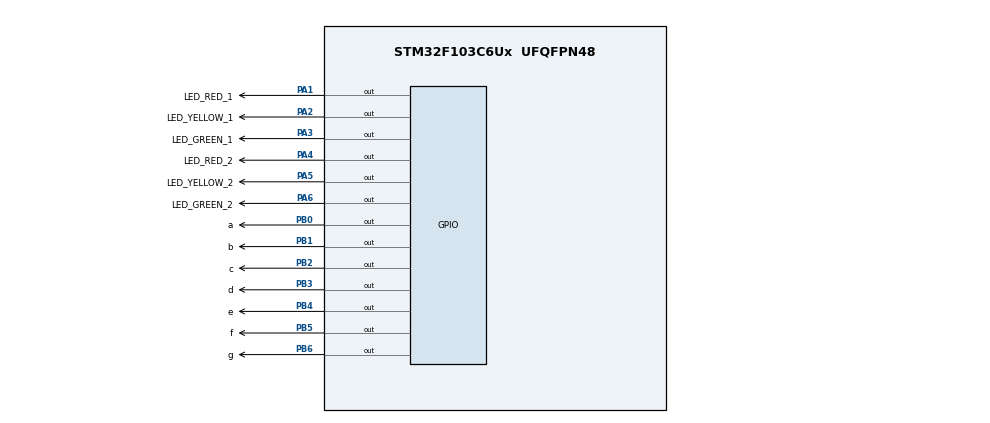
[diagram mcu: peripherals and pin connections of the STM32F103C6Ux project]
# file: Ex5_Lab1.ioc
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Mcu.Family=STM32F1
Mcu.Name=STM32F103C6Ux
Mcu.Package=UFQFPN48
NVIC.PriorityGroup=NVIC_PRIORITYGROUP_4
PA1.GPIO_Label=LED_RED_1
PA1.Signal=GPIO_Output
PA2.GPIO_Label=LED_YELLOW_1
PA2.Signal=GPIO_Output
PA3.GPIO_Label=LED_GREEN_1
PA3.Signal=GPIO_Output
PA4.GPIO_Label=LED_RED_2
PA4.Signal=GPIO_Output
PA5.GPIO_Label=LED_YELLOW_2
PA5.Signal=GPIO_Output
PA6.GPIO_Label=LED_GREEN_2
PA6.Signal=GPIO_Output
PB0.GPIO_Label=a
PB0.Signal=GPIO_Output
PB1.GPIO_Label=b
PB1.Signal=GPIO_Output
PB2.GPIO_Label=c
PB2.Signal=GPIO_Output
PB3.GPIO_Label=d
PB3.Signal=GPIO_Output
PB4.GPIO_Label=e
PB4.Signal=GPIO_Output
PB5.GPIO_Label=f
PB5.Signal=GPIO_Output
PB6.GPIO_Label=g
PB6.Signal=GPIO_Output
ProjectManager.HeapSize=0x200
ProjectManager.StackSize=0x400
ProjectManager.TargetToolchain=STM32CubeIDE
RCC.APB1Freq_Value=8000000
RCC.APB2Freq_Value=8000000
VP_SYS_VS_ND.Mode=No_Debug
board=custom

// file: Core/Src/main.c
/* USER CODE BEGIN Header */
/**
 ******************************************************************************
 * @file           : main.c
 * @brief          : Main program body
 ******************************************************************************
 * @attention
 *
 * <h2><center>&copy; Copyright (c) 2025 STMicroelectronics.
 * All rights reserved.</center></h2>
 *
 * This software component is licensed by ST under BSD 3-Clause license,
 * the "License"; You may not use this file except in compliance with the
 * License. You may obtain a copy of the License at:
 *                        opensource.org/licenses/BSD-3-Clause
 *
 ******************************************************************************
 */
/* USER CODE END Header */
#include "main.h"

void SystemClock_Config(void);
static void MX_GPIO_Init(void);

/* USER CODE BEGIN 0 */
void display7SEG(int);
/* USER CODE END 0 */

int main(void) {

	/* MCU Configuration--------------------------------------------------------*/

	/* Reset of all peripherals, Initializes the Flash interface and the Systick. */
	HAL_Init();

	/* Configure the system clock */
	SystemClock_Config();

	/* Initialize all configured peripherals */
	MX_GPIO_Init();
	/* USER CODE BEGIN 2 */
	int second_counter = 0;
	/* USER CODE END 2 */

	/* Infinite loop */
	/* USER CODE BEGIN WHILE */
	while (1) {
		int remaining_time = 0;

		if (second_counter < 5) {
			// STATE 1: RED LIGHT for 5 seconds (counter from 0 to 4)
			HAL_GPIO_WritePin(LED_RED_1_GPIO_Port, LED_RED_1_Pin, GPIO_PIN_SET);
			HAL_GPIO_WritePin(LED_GREEN_1_GPIO_Port, LED_GREEN_1_Pin,
					GPIO_PIN_RESET);
			HAL_GPIO_WritePin(LED_YELLOW_1_GPIO_Port, LED_YELLOW_1_Pin,
					GPIO_PIN_RESET);
			remaining_time = 5 - second_counter;
		} else if (second_counter < 8) {
			// STATE 2: GREEN LIGHT for 3 seconds (counter from 5 to 7)
			HAL_GPIO_WritePin(LED_RED_1_GPIO_Port, LED_RED_1_Pin,
					GPIO_PIN_RESET);
			HAL_GPIO_WritePin(LED_GREEN_1_GPIO_Port, LED_GREEN_1_Pin,
					GPIO_PIN_SET);
			HAL_GPIO_WritePin(LED_YELLOW_1_GPIO_Port, LED_YELLOW_1_Pin,
					GPIO_PIN_RESET);
			remaining_time = 8 - second_counter;
		} else {
			// STATE 3: YELLOW LIGHT for 2 seconds (counter from 8 to 9)
			HAL_GPIO_WritePin(LED_RED_1_GPIO_Port, LED_RED_1_Pin,
					GPIO_PIN_RESET);
			HAL_GPIO_WritePin(LED_GREEN_1_GPIO_Port, LED_GREEN_1_Pin,
					GPIO_PIN_RESET);
			HAL_GPIO_WritePin(LED_YELLOW_1_GPIO_Port, LED_YELLOW_1_Pin,
					GPIO_PIN_SET);
			remaining_time = 10 - second_counter;
		}

		display7SEG(remaining_time);

		if (second_counter <= 3) {
			HAL_GPIO_WritePin(LED_RED_2_GPIO_Port, LED_RED_2_Pin,
					GPIO_PIN_RESET);
			HAL_GPIO_WritePin(LED_GREEN_2_GPIO_Port, LED_GREEN_2_Pin,
					GPIO_PIN_SET);
			HAL_GPIO_WritePin(LED_YELLOW_2_GPIO_Port, LED_YELLOW_2_Pin,
					GPIO_PIN_RESET);
		} else if (second_counter <= 5) {
			HAL_GPIO_WritePin(LED_RED_2_GPIO_Port, LED_RED_2_Pin,
					GPIO_PIN_RESET);
			HAL_GPIO_WritePin(LED_GREEN_2_GPIO_Port, LED_GREEN_2_Pin,
					GPIO_PIN_RESET);
			HAL_GPIO_WritePin(LED_YELLOW_2_GPIO_Port, LED_YELLOW_2_Pin,
					GPIO_PIN_SET);
		} else {
			HAL_GPIO_WritePin(LED_RED_2_GPIO_Port, LED_RED_2_Pin, GPIO_PIN_SET);
			HAL_GPIO_WritePin(LED_GREEN_2_GPIO_Port, LED_GREEN_2_Pin,
					GPIO_PIN_RESET);
			HAL_GPIO_WritePin(LED_YELLOW_2_GPIO_Port, LED_YELLOW_2_Pin,
					GPIO_PIN_RESET);
		}

		// Increment the counter every second.
		second_counter++;
		if (second_counter >= 10) {
			second_counter = 0;
		}

		HAL_Delay(1000);

	}
	/* USER CODE END WHILE */

}

void SystemClock_Config(void) {
	RCC_OscInitTypeDef RCC_OscInitStruct = { 0 };
	RCC_ClkInitTypeDef RCC_ClkInitStruct = { 0 };

	/** Initializes the RCC Oscillators according to the specified parameters
	 * in the RCC_OscInitTypeDef structure.
	 */
	RCC_OscInitStruct.OscillatorType = RCC_OSCILLATORTYPE_HSI;
	RCC_OscInitStruct.HSIState = RCC_HSI_ON;
	RCC_OscInitStruct.HSICalibrationValue = RCC_HSICALIBRATION_DEFAULT;
	RCC_OscInitStruct.PLL.PLLState = RCC_PLL_NONE;
	if (HAL_RCC_OscConfig(&RCC_OscInitStruct) != HAL_OK) {
		Error_Handler();
	}
	/** Initializes the CPU, AHB and APB buses clocks
	 */
	RCC_ClkInitStruct.ClockType = RCC_CLOCKTYPE_HCLK | RCC_CLOCKTYPE_SYSCLK
			| RCC_CLOCKTYPE_PCLK1 | RCC_CLOCKTYPE_PCLK2;
	RCC_ClkInitStruct.SYSCLKSource = RCC_SYSCLKSOURCE_HSI;
	RCC_ClkInitStruct.AHBCLKDivider = RCC_SYSCLK_DIV1;
	RCC_ClkInitStruct.APB1CLKDivider = RCC_HCLK_DIV1;
	RCC_ClkInitStruct.APB2CLKDivider = RCC_HCLK_DIV1;

	if (HAL_RCC_ClockConfig(&RCC_ClkInitStruct, FLASH_LATENCY_0) != HAL_OK) {
		Error_Handler();
	}
}

static void MX_GPIO_Init(void) {
	GPIO_InitTypeDef GPIO_InitStruct = { 0 };

	/* GPIO Ports Clock Enable */
	__HAL_RCC_GPIOA_CLK_ENABLE();
	__HAL_RCC_GPIOB_CLK_ENABLE();

	/*Configure GPIO pin Output Level */
	HAL_GPIO_WritePin(GPIOA,
			LED_RED_1_Pin | LED_YELLOW_1_Pin | LED_GREEN_1_Pin | LED_RED_2_Pin
					| LED_YELLOW_2_Pin | LED_GREEN_2_Pin, GPIO_PIN_RESET);

	/*Configure GPIO pin Output Level */
	HAL_GPIO_WritePin(GPIOB,
			a_Pin | b_Pin | c_Pin | d_Pin | e_Pin | f_Pin | g_Pin,
			GPIO_PIN_RESET);

	/*Configure GPIO pins : LED_RED_1_Pin LED_YELLOW_1_Pin LED_GREEN_1_Pin LED_RED_2_Pin
	 LED_YELLOW_2_Pin LED_GREEN_2_Pin */
	GPIO_InitStruct.Pin = LED_RED_1_Pin | LED_YELLOW_1_Pin | LED_GREEN_1_Pin
			| LED_RED_2_Pin | LED_YELLOW_2_Pin | LED_GREEN_2_Pin;
	GPIO_InitStruct.Mode = GPIO_MODE_OUTPUT_PP;
	GPIO_InitStruct.Pull = GPIO_NOPULL;
	GPIO_InitStruct.Speed = GPIO_SPEED_FREQ_LOW;
	HAL_GPIO_Init(GPIOA, &GPIO_InitStruct);

	/*Configure GPIO pins : a_Pin b_Pin c_Pin d_Pin
	 e_Pin f_Pin g_Pin */
	GPIO_InitStruct.Pin = a_Pin | b_Pin | c_Pin | d_Pin | e_Pin | f_Pin | g_Pin;
	GPIO_InitStruct.Mode = GPIO_MODE_OUTPUT_PP;
	GPIO_InitStruct.Pull = GPIO_NOPULL;
	GPIO_InitStruct.Speed = GPIO_SPEED_FREQ_LOW;
	HAL_GPIO_Init(GPIOB, &GPIO_InitStruct);

}

/* USER CODE BEGIN 4 */

void display7SEG(int num) {

    const uint8_t seg_pattern[10][7] = {
        {0,0,0,0,0,0,1}, // 0
        {1,0,0,1,1,1,1}, // 1
        {0,0,1,0,0,1,0}, // 2
        {0,0,0,0,1,1,0}, // 3
        {1,0,0,1,1,0,0}, // 4
        {0,1,0,0,1,0,0}, // 5
        {0,1,0,0,0,0,0}, // 6
        {0,0,0,1,1,1,1}, // 7
        {0,0,0,0,0,0,0}, // 8
        {0,0,0,0,1,0,0}  // 9
    };

    uint16_t pins[7] = {a_Pin, b_Pin, c_Pin, d_Pin, e_Pin, f_Pin, g_Pin};

    if (num < 0 || num > 9) num = 0;

    for (int i = 0; i < 7; i++) {
        HAL_GPIO_WritePin(GPIOB, pins[i], seg_pattern[num][i]);
    }
}
/* USER CODE END 4 */

void Error_Handler(void) {
	__disable_irq();
	while (1) {
	}
}

/************************ (C) COPYRIGHT STMicroelectronics *****END OF FILE****/
